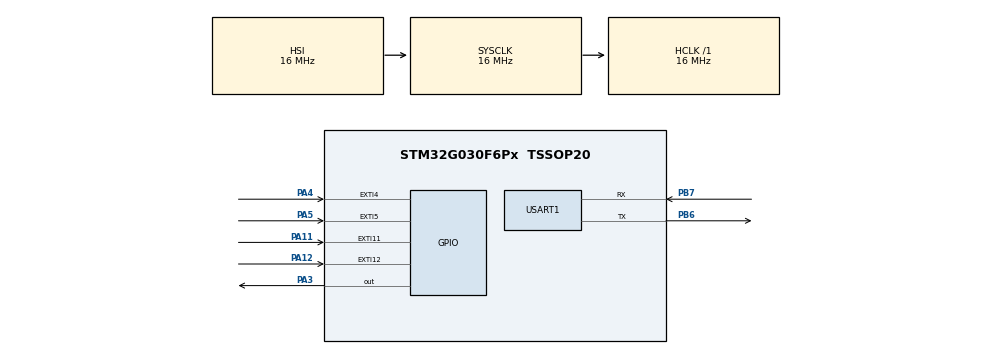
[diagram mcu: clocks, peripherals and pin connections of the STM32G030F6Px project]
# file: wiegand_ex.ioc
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IWDG.Prescaler=IWDG_PRESCALER_64
IWDG.Reload=1999
IWDG.Window=1999
Mcu.Family=STM32G0
Mcu.Name=STM32G030F6Px
Mcu.Package=TSSOP20
NVIC.EXTI4_15_IRQn=true\:0\:0\:false\:false\:true\:true\:true
PA11\ [PA9].GPIO_ModeDefaultEXTI=GPIO_MODE_IT_FALLING
PA11\ [PA9].Signal=GPXTI11
PA12\ [PA10].GPIO_ModeDefaultEXTI=GPIO_MODE_IT_FALLING
PA12\ [PA10].Signal=GPXTI12
PA3.Signal=GPIO_Output
PA4.GPIO_ModeDefaultEXTI=GPIO_MODE_IT_FALLING
PA4.Signal=GPXTI4
PA5.GPIO_ModeDefaultEXTI=GPIO_MODE_IT_FALLING
PA5.Signal=GPXTI5
PB6.Mode=Asynchronous
PB6.Signal=USART1_TX
PB7.Mode=Asynchronous
PB7.Signal=USART1_RX
ProjectManager.HeapSize=0x200
ProjectManager.StackSize=0x400
ProjectManager.TargetToolchain=STM32CubeIDE
RCC.AHBFreq_Value=16000000
RCC.CortexFreq_Value=16000000
RCC.EXTERNAL_CLOCK_VALUE=12288000
RCC.HCLKFreq_Value=16000000
RCC.HSE_VALUE=8000000
RCC.HSI_VALUE=16000000
RCC.LSE_VALUE=32768
RCC.SYSCLKFreq_VALUE=16000000
RCC.VCOOutputFreq_Value=128000000
USART1.VirtualMode-Asynchronous=VM_ASYNC
VP_IWDG_VS_IWDG.Mode=IWDG_Activate
board=custom

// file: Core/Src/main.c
/* USER CODE BEGIN Header */
/**
  ******************************************************************************
  * @file           : main.c
  * @brief          : Main program body
  ******************************************************************************
  * @attention
  *
  * Copyright (c) 2021 STMicroelectronics.
  * All rights reserved.
  *
  * This software is licensed under terms that can be found in the LICENSE file
  * in the root directory of this software component.
  * If no LICENSE file comes with this software, it is provided AS-IS.
  *
  ******************************************************************************
  */
/* USER CODE END Header */
#include "main.h"

/* USER CODE BEGIN Includes */
#include "string.h"
#include "stdio.h"
#include "wiegand.h"
/* USER CODE END Includes */

/* USER CODE BEGIN PTD */
Wiegand wg0;
Wiegand wg1;
volatile uint8_t wig_flag_inrt = 1;
#define D0_WG0        GPIO_PIN_11
#define D1_WG0        GPIO_PIN_12
#define D0_WG1        GPIO_PIN_5
#define D1_WG1        GPIO_PIN_4
#define LED           GPIO_PIN_3

/* USER CODE END PTD */

 IWDG_HandleTypeDef hiwdg;

UART_HandleTypeDef huart1;

void SystemClock_Config(void);
static void MX_GPIO_Init(void);
static void MX_USART1_UART_Init(void);
static void MX_IWDG_Init(void);

/* USER CODE BEGIN 0 */
void HAL_GPIO_EXTI_Falling_Callback(uint16_t GPIO_Pin)
{
	if(wig_flag_inrt && GPIO_Pin == D0_WG0)
	{
		ReadD0(&wg0);
	}
	else if(wig_flag_inrt && GPIO_Pin == D1_WG0)
	{
		ReadD1(&wg0);
	}
  else if(wig_flag_inrt && GPIO_Pin == D0_WG1)
	{
		ReadD0(&wg1);
	}
  else if(wig_flag_inrt && GPIO_Pin == D1_WG1)
	{
		ReadD1(&wg1);
	}
}
/* USER CODE END 0 */

int main(void)
{
  /* USER CODE BEGIN 1 */
  wg0.cardTempHigh = 0;
  wg0.cardTemp = 0;
  wg0.lastWiegand = 0;
  wg0.code = 0;
  wg0.bitCount = 0;
  wg0.wiegandType = 0;

  wg1.cardTempHigh = 0;
  wg1.cardTemp = 0;
  wg1.lastWiegand = 0;
  wg1.code = 0;
  wg1.bitCount = 0;
  wg1.wiegandType = 0;
  /* USER CODE END 1 */

  /* MCU Configuration--------------------------------------------------------*/

  /* Reset of all peripherals, Initializes the Flash interface and the Systick. */
  HAL_Init();

  /* Configure the system clock */
  SystemClock_Config();

  /* Initialize all configured peripherals */
  MX_GPIO_Init();
  MX_USART1_UART_Init();
  MX_IWDG_Init();
  /* USER CODE BEGIN 2 */
  uint8_t InitMessage[] = "Iniciando Leitor Wiegand v1.9\r\n"; //Data to send
  HAL_UART_Transmit(&huart1, InitMessage, sizeof(InitMessage), 10);// Sending in normal mode
  HAL_Delay(100);
  /* USER CODE END 2 */

  /* Infinite loop */
  /* USER CODE BEGIN WHILE */
  uint8_t led_blink_count = 0;
  unsigned int turnOffLED = 0;
  for (led_blink_count = 0; led_blink_count < 3; ++led_blink_count) {
	  HAL_GPIO_TogglePin(GPIOA, LED);
	  HAL_Delay(100);
	  HAL_GPIO_TogglePin(GPIOA, LED);
	  HAL_Delay(100);
  }

  while (1)
  {
	HAL_IWDG_Refresh(&hiwdg); //Refresh must be < 4000ms
	if (wig_available(&wg0))
    {
	  HAL_GPIO_TogglePin(GPIOA, LED);
      wig_flag_inrt = 0;
      uint32_t wcode = getCode(&wg0);
      int16_t wtype = getWiegandType(&wg0);
      wig_flag_inrt = 1;
      char str[64] = {0,};
      // snprintf(str, 64, "WG0: HEX=0x%lX - DEC=%lu, Protocol %d \n\r", wcode, wcode, wtype);
      snprintf(str, 64, "wg1-%lu\n\r", wcode);
      HAL_UART_Transmit(&huart1, (uint8_t*)str, strlen(str), 1000);
      // HAL_GPIO_TogglePin(GPIOA, LED);
    }
    if (wig_available(&wg1))
    {
      HAL_GPIO_TogglePin(GPIOA, LED);
      wig_flag_inrt = 0;
      uint32_t wcode = getCode(&wg1);
      int16_t wtype = getWiegandType(&wg1);
      wig_flag_inrt = 1;
      char str[64] = {0,};
      snprintf(str, 64, "wg2-%lu\n\r", wcode);
      HAL_UART_Transmit(&huart1, (uint8_t*)str, strlen(str), 1000);
      // HAL_GPIO_TogglePin(GPIOA, LED);
    }
    /* USER CODE END WHILE */

  }
}

void SystemClock_Config(void)
{
  RCC_OscInitTypeDef RCC_OscInitStruct = {0};
  RCC_ClkInitTypeDef RCC_ClkInitStruct = {0};

  /** Configure the main internal regulator output voltage
  */
  HAL_PWREx_ControlVoltageScaling(PWR_REGULATOR_VOLTAGE_SCALE1);
  /** Initializes the RCC Oscillators according to the specified parameters
  * in the RCC_OscInitTypeDef structure.
  */
  RCC_OscInitStruct.OscillatorType = RCC_OSCILLATORTYPE_HSI|RCC_OSCILLATORTYPE_LSI;
  RCC_OscInitStruct.HSIState = RCC_HSI_ON;
  RCC_OscInitStruct.HSIDiv = RCC_HSI_DIV1;
  RCC_OscInitStruct.HSICalibrationValue = RCC_HSICALIBRATION_DEFAULT;
  RCC_OscInitStruct.LSIState = RCC_LSI_ON;
  RCC_OscInitStruct.PLL.PLLState = RCC_PLL_NONE;
  if (HAL_RCC_OscConfig(&RCC_OscInitStruct) != HAL_OK)
  {
    Error_Handler();
  }
  /** Initializes the CPU, AHB and APB buses clocks
  */
  RCC_ClkInitStruct.ClockType = RCC_CLOCKTYPE_HCLK|RCC_CLOCKTYPE_SYSCLK
                              |RCC_CLOCKTYPE_PCLK1;
  RCC_ClkInitStruct.SYSCLKSource = RCC_SYSCLKSOURCE_HSI;
  RCC_ClkInitStruct.AHBCLKDivider = RCC_SYSCLK_DIV1;
  RCC_ClkInitStruct.APB1CLKDivider = RCC_HCLK_DIV1;

  if (HAL_RCC_ClockConfig(&RCC_ClkInitStruct, FLASH_LATENCY_0) != HAL_OK)
  {
    Error_Handler();
  }
}

static void MX_IWDG_Init(void)
{

  hiwdg.Instance = IWDG;
  hiwdg.Init.Prescaler = IWDG_PRESCALER_64;
  hiwdg.Init.Window = 1999;
  hiwdg.Init.Reload = 1999;
  if (HAL_IWDG_Init(&hiwdg) != HAL_OK)
  {
    Error_Handler();
  }

}

static void MX_USART1_UART_Init(void)
{

  huart1.Instance = USART1;
  huart1.Init.BaudRate = 115200;
  huart1.Init.WordLength = UART_WORDLENGTH_8B;
  huart1.Init.StopBits = UART_STOPBITS_1;
  huart1.Init.Parity = UART_PARITY_NONE;
  huart1.Init.Mode = UART_MODE_TX_RX;
  huart1.Init.HwFlowCtl = UART_HWCONTROL_NONE;
  huart1.Init.OverSampling = UART_OVERSAMPLING_16;
  huart1.Init.OneBitSampling = UART_ONE_BIT_SAMPLE_DISABLE;
  huart1.Init.ClockPrescaler = UART_PRESCALER_DIV1;
  huart1.AdvancedInit.AdvFeatureInit = UART_ADVFEATURE_NO_INIT;
  if (HAL_UART_Init(&huart1) != HAL_OK)
  {
    Error_Handler();
  }
  if (HAL_UARTEx_SetTxFifoThreshold(&huart1, UART_TXFIFO_THRESHOLD_1_8) != HAL_OK)
  {
    Error_Handler();
  }
  if (HAL_UARTEx_SetRxFifoThreshold(&huart1, UART_RXFIFO_THRESHOLD_1_8) != HAL_OK)
  {
    Error_Handler();
  }
  if (HAL_UARTEx_DisableFifoMode(&huart1) != HAL_OK)
  {
    Error_Handler();
  }

}

static void MX_GPIO_Init(void)
{
  GPIO_InitTypeDef GPIO_InitStruct = {0};

  /* GPIO Ports Clock Enable */
  __HAL_RCC_GPIOB_CLK_ENABLE();
  __HAL_RCC_GPIOA_CLK_ENABLE();

  /*Configure GPIO pin Output Level */
  HAL_GPIO_WritePin(GPIOA, GPIO_PIN_3, GPIO_PIN_RESET);

  /*Configure GPIO pin : PA3 */
  GPIO_InitStruct.Pin = GPIO_PIN_3;
  GPIO_InitStruct.Mode = GPIO_MODE_OUTPUT_PP;
  GPIO_InitStruct.Pull = GPIO_NOPULL;
  GPIO_InitStruct.Speed = GPIO_SPEED_FREQ_LOW;
  HAL_GPIO_Init(GPIOA, &GPIO_InitStruct);

  /*Configure GPIO pins : PA4 PA5 PA11 PA12 */
  GPIO_InitStruct.Pin = GPIO_PIN_4|GPIO_PIN_5|GPIO_PIN_11|GPIO_PIN_12;
  GPIO_InitStruct.Mode = GPIO_MODE_IT_FALLING;
  GPIO_InitStruct.Pull = GPIO_NOPULL;
  HAL_GPIO_Init(GPIOA, &GPIO_InitStruct);

  /* EXTI interrupt init*/
  HAL_NVIC_SetPriority(EXTI4_15_IRQn, 0, 0);
  HAL_NVIC_EnableIRQ(EXTI4_15_IRQn);

}

void Error_Handler(void)
{
  __disable_irq();
  while (1)
  {
  }
}
